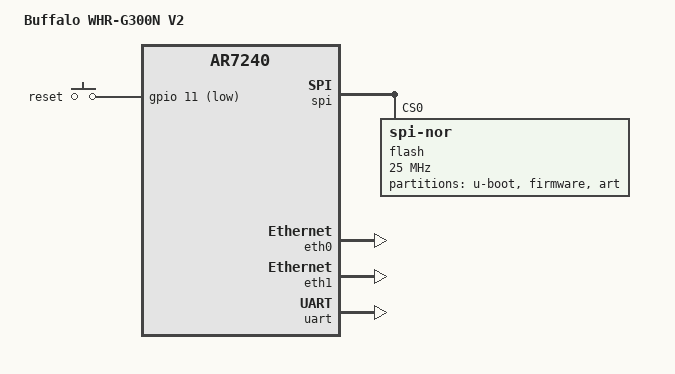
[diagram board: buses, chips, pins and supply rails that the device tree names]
// SPDX-License-Identifier: GPL-2.0-or-later OR MIT
/dts-v1/;

#include <dt-bindings/gpio/gpio.h>
#include <dt-bindings/input/input.h>

#include "ar7240.dtsi"

/ {
	compatible = "buffalo,whr-g300n-v2", "qca,ar7240";
	model = "Buffalo WHR-G300N V2";
/*
	aliases {
		led-status = &led_system;
	};
*/
	gpio-keys-polled {
		compatible = "gpio-keys-polled";
		#address-cells = <1>;
		#size-cells = <0>;
		poll-interval = <20>;

		reset {
			label = "reset";
			linux,code = <KEY_RESTART>;
			gpios = <&gpio 11 GPIO_ACTIVE_LOW>;
			debounce-interval = <60>;
		};
/*
		aoss {
			label = "aoss/wps";
			linux,code = <KEY_WPS_BUTTON>;
			gpios = <&gpio 12 GPIO_ACTIVE_LOW>;
			debounce-interval = <60>;
		};

		router_on {
			linux,code = <BTN_2>;
			linux,input-type = <EV_SW>;
			gpios = <&gpio 7 GPIO_ACTIVE_LOW>;
			debounce-interval = <60>;
		};

		router_auto {
			linux,code = <BTN_3>;
			linux,input-type = <EV_SW>;
			gpios = <&gpio 8 GPIO_ACTIVE_LOW>;
			debounce-interval = <60>;
		};
*/
	};
/*
	gpio-leds {
		compatible = "gpio-leds";
		pinctrl-names = "default";
		pinctrl-0 = <&switch_led_pins>;

		led_system: security {
			label = "buffalo:orange:security";
			gpios = <&gpio 0 GPIO_ACTIVE_LOW>;
		};

		diag {
			label = "buffalo:red:diag";
			gpios = <&gpio 1 GPIO_ACTIVE_LOW>;
		};

		router {
			label = "buffalo:green:router";
			gpios = <&gpio 6 GPIO_ACTIVE_LOW>;
		};

		lan1 {
			label = "buffalo:green:lan1";
			gpios = <&gpio 13 GPIO_ACTIVE_LOW>;
		};

		lan2 {
			label = "buffalo:green:lan2";
			gpios = <&gpio 14 GPIO_ACTIVE_LOW>;
		};

		lan3 {
			label = "buffalo:green:lan3";
			gpios = <&ath9k 15 GPIO_ACTIVE_LOW>;
		};

		lan4 {
			label = "buffalo:green:lan4";
			gpios = <&gpio 16 GPIO_ACTIVE_LOW>;
		};

		wan {
			label = "buffalo:green:wan";
			gpios = <&gpio 17 GPIO_ACTIVE_LOW>;
		};
	};
	
	ath9k-leds {
		compatible = "gpio-leds";

		wlan {
			label = "buffalo:green:wlan";
			gpios = <&ath9k 0 GPIO_ACTIVE_LOW>;
			default-state = "off";
			linux,default-trigger = "phy0tpt";
		};
	};
*/
};

&spi {
	status = "okay";
	num-cs = <1>;

	flash@0 {
		#address-cells = <1>;
		#size-cells = <1>;
		compatible = "jedec,spi-nor";
		reg = <0>;
		spi-max-frequency = <25000000>;

		partitions {
			compatible = "fixed-partitions";
			#address-cells = <1>;
			#size-cells = <1>;

			uboot: partition@0 {
				reg = <0x0 0x20000>;
				label = "u-boot";
				read-only;
			};

			firmware: partition@20000 {
				reg = <0x20000 0x3d0000>;
				label = "firmware";
			};

			art: partition@3f0000 {
				reg = <0x3f0000 0x10000>;
				label = "art";
				read-only;
			};
		};
	};
};

&eth0 {
	status = "okay";

	mtd-mac-address = <&uboot 0x1fc00>;
	mtd-mac-address-increment = <(-1)>;
};

&eth1 {
	status = "okay";

	mtd-mac-address = <&uboot 0x1fc00>;
	mtd-mac-address-increment = <1>;
};
/*
&pcie {
	status = "okay";

	ath9k: wifi@168c,002b {
		compatible = "pci168c,002b";
		reg = <0x0000 0 0 0 0>;
		qca,no-eeprom;
		mtd-mac-address = <&uboot 0x1fc00>;
		#gpio-cells = <2>;
		gpio-controller;
	};
};

&pinmux {
	switch_led_pins: pinmux_switch_led_pins {
		pinctrl-single,bits = <0x0 0x0 0xf8>;
	};
};
*/
&uart {
	status = "okay";
};
